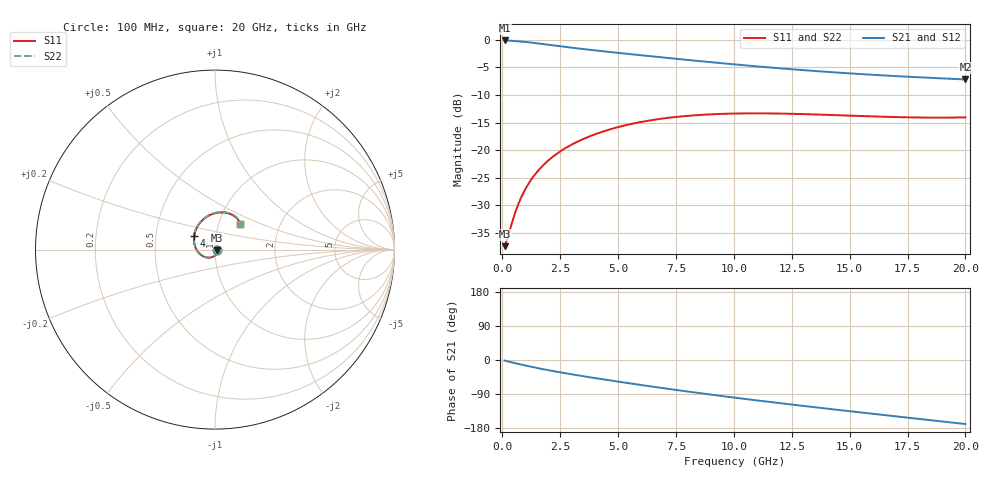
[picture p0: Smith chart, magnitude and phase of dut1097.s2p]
! Touchstone file exported from HFSS 2024.1.0
!  File:  C:/UserFiles/LocalFiles/RDL_TSV_Batchsim/temp_RDL_TSV_1097_1780099368.aedt
!  Generated:  08:13:10 AM May 30, 2026
!  Design:  RDL_TSV
!  Project:  temp_RDL_TSV_1097_1780099368
!  Setup:  Setup1
!  Solution:  Sweep
! Variables:
!  dtsv = 11.4um
!  hbump = 3um
!  htsv = 70.13um
!  ldown = 279.26um
!  lrdl = 396.35um
!  p = 40
!  p1 = 41.94um
!  rhole = 10um
!  subl = 2423.18um
!  t = 450um
!  tdown = 2.51um
!  trdl = 2.5um
!  viad = 10um
!  wdown = 29.76um
!  wrdl = 27.94um
!  xbump = 18um
# GHz S MA R 50.000000
! Terminal data exported
! Port[1] = TM1_1_T1
! Port[2] = TM1_4_T1
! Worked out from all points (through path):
!   200 points, 100 MHz to 20 GHz, reference 50 ohm
!   highest |S21| = -0.12 dB at 100 MHz (marker M1); lowest = -7.2 dB at 20 GHz (marker M2)
!   group delay of S21, straight-line fit = 22.3 ps
!   lowest |S11| = -37.4 dB at 100 MHz (marker M3), VSWR 1.03, Z = 51.3 - j0.446 ohm
!   |S11| at or under -10 dB: start of sweep to end of sweep
!   |S22| runs from -37.4 to -13.2 dB; largest |S21 - S12| = 1.5e-14
!   S11 on the Smith chart (normalised r, x): 100 MHz: 1.03, -0.01; 4 GHz: 0.78, +0.12; 20 GHz: 1.26, +0.37
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0.1  0.01353 -18.7  0.9865 -1.6  0.9865 -1.6  0.01353 -18.7
! Gamma 0 0 0 0
! Port Impedance 50 0 50 0
0.2  0.0154 -35.8  0.9849 -3.1  0.9849 -3.1  0.0154 -35.8
0.5  0.02506 -73.2  0.9765 -7.6  0.9765 -7.6  0.02505 -73.2
0.7  0.03275 -90.3  0.9692 -10.4  0.9692 -10.4  0.03275 -90.4
1  0.04457 -110.3  0.9561 -14.5  0.9561 -14.5  0.04457 -110.4
1.3  0.05613 -126.5  0.9409 -18.5  0.9409 -18.5  0.05617 -126.7
1.7  0.07083 -144.8  0.9188 -23.5  0.9188 -23.5  0.07092 -145.0
2.2  0.08792 -164.1  0.8906 -29.3  0.8906 -29.3  0.08811 -164.2
2.8  0.1067 176.6  0.8585 -35.7  0.8585 -35.7  0.107 176.4
3.5  0.1265 157.8  0.8244 -42.8  0.8244 -42.8  0.127 157.6
4  0.1393 146.3  0.8022 -47.7  0.8022 -47.7  0.14 146.1
4.7  0.1556 132.3  0.7733 -54.3  0.7733 -54.3  0.1565 132.1
5.4  0.1698 120.3  0.7464 -60.7  0.7464 -60.7  0.171 120.1
6.8  0.1921 100.7  0.6966 -73.1  0.6966 -73.1  0.1937 100.6
8.3  0.2072 84.5  0.6482 -85.6  0.6482 -85.6  0.2091 84.4
10.1  0.2151 69.9  0.5971 -99.8  0.5971 -99.8  0.2172 69.8
11.7  0.2153 60.4  0.5582 -111.8  0.5582 -111.8  0.2176 60.3
13.4  0.2113 53.2  0.5236 -124.0  0.5236 -124.0  0.2137 53.1
15  0.2057 48.8  0.4966 -135.1  0.4966 -135.1  0.2082 48.8
16.7  0.2003 46.4  0.4728 -146.7  0.4728 -146.7  0.2027 46.3
18.3  0.1975 45.8  0.4543 -157.5  0.4543 -157.5  0.1998 45.6
20  0.1983 46.2  0.4377 -169.0  0.4377 -169.0  0.2005 46.1
